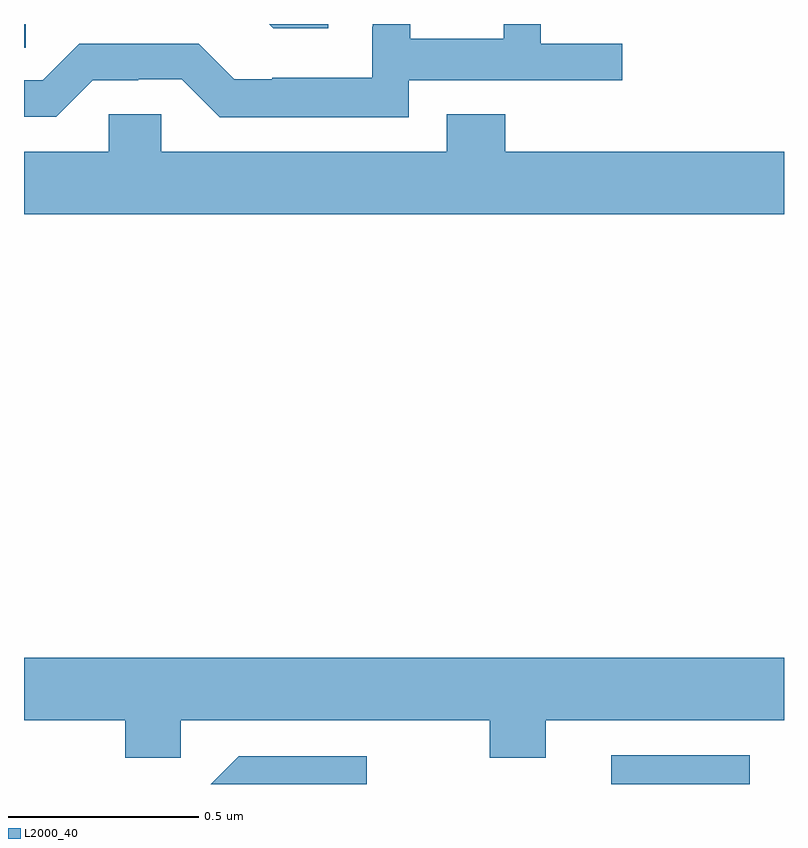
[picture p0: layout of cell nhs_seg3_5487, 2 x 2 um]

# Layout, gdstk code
import gdstk
lib = gdstk.Library(unit=1e-6, precision=1e-09)
def R(c, l, rs):  # rectangles x0, y0, x1, y1
    for r in rs: c.add(gdstk.rectangle(r[:2], r[2:], *l))
def P(c, l, *ps):  # polygons
    for p in ps: c.add(gdstk.Polygon(p, *l))
L2000_40 = (2000, 40)

nhs_seg3_5487 = lib.new_cell('nhs_seg3_5487')
R(nhs_seg3_5487, L2000_40, [(180.545,715.4,180.91,715.476), (179,717.337,179.005,717.4)])
P(nhs_seg3_5487, L2000_40, [(180.012,717.252),(180.574,717.252),(180.574,717.348),(180.36,717.348),(180.36,717.4),(180.262,717.4),(180.262,717.361),(180.017,717.361),(180.017,717.4),(179.918,717.4),(179.918,717.393),(179.916,717.393),(179.916,717.259),(179.653,717.259),(179.653,717.255),(179.553,717.255),(179.46,717.348),(179.145,717.348),(179.049,717.252),(179,717.252),(179,717.156),(179.085,717.156),(179.181,717.252),(179.3,717.252),(179.3,717.255),(179.415,717.255),(179.515,717.155),(180.012,717.155)],
  [(179.8,717.4),(179.645,717.4),(179.656,717.389),(179.8,717.389)],
  [(181,717.064),(180.266,717.064),(180.266,717.163),(180.113,717.163),(180.113,717.064),(179.361,717.064),(179.361,717.162),(179.223,717.162),(179.223,717.064),(179,717.064),(179,716.9),(181,716.9)],
  [(179.412,715.568),(180.226,715.568),(180.226,715.469),(180.373,715.469),(180.373,715.568),(181,715.568),(181,715.732),(179,715.732),(179,715.568),(179.266,715.568),(179.266,715.469),(179.412,715.469)],
  [(179.902,715.473),(179.565,715.473),(179.492,715.4),(179.902,715.4)])

lib.write_gds('nhs_seg3_5487.gds')
